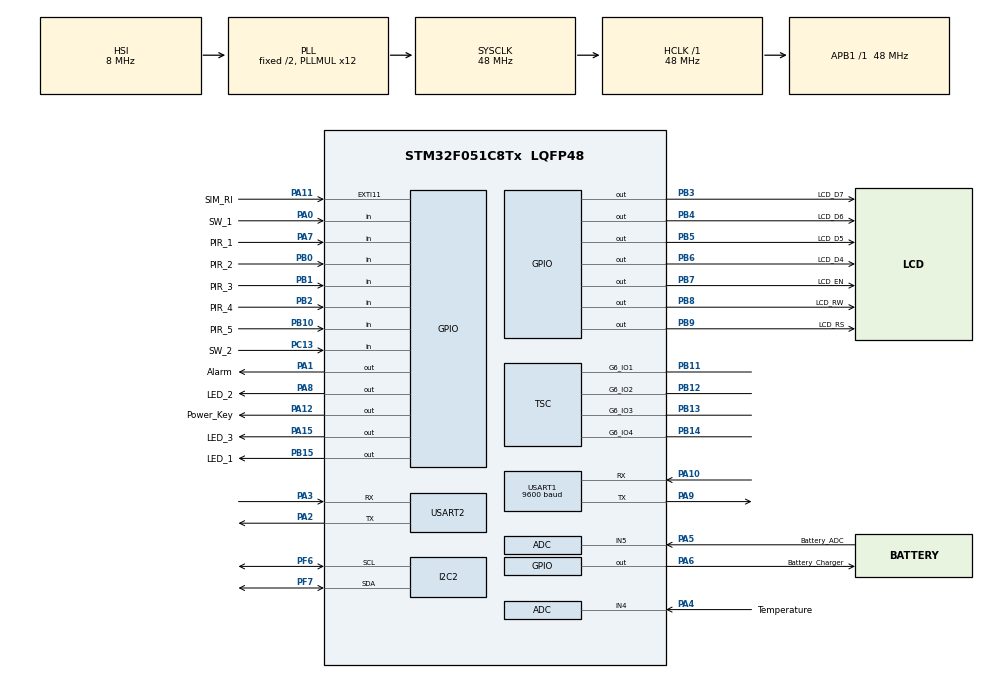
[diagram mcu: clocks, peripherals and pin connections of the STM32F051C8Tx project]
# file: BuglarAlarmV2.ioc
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ADC.ClockPrescaler=ADC_CLOCK_ASYNC_DIV1
ADC.ContinuousConvMode=ENABLE
ADC.DMAContinuousRequests=DISABLE
ADC.DataAlign=ADC_DATAALIGN_RIGHT
ADC.DiscontinuousConvMode=DISABLE
ADC.EOCSelection=ADC_EOC_SINGLE_CONV
ADC.EnableAnalogWatchDog=false
ADC.ExternalTrigConv=ADC_SOFTWARE_START
ADC.ExternalTrigConvEdge=ADC_EXTERNALTRIGCONVEDGE_NONE
ADC.LowPowerAutoPowerOff=DISABLE
ADC.LowPowerAutoWait=DISABLE
ADC.Overrun=ADC_OVR_DATA_PRESERVED
ADC.Resolution=ADC_RESOLUTION_12B
ADC.SamplingTime=ADC_SAMPLETIME_239CYCLES_5
ADC.ScanConvMode=ADC_SCAN_DIRECTION_FORWARD
Dma.ADC.0.Direction=DMA_PERIPH_TO_MEMORY
Dma.ADC.0.Instance=DMA1_Channel1
Dma.ADC.0.MemDataAlignment=DMA_MDATAALIGN_HALFWORD
Dma.ADC.0.MemInc=DMA_MINC_ENABLE
Dma.ADC.0.Mode=DMA_CIRCULAR
Dma.ADC.0.PeriphDataAlignment=DMA_PDATAALIGN_HALFWORD
Dma.ADC.0.PeriphInc=DMA_PINC_DISABLE
Dma.ADC.0.Priority=DMA_PRIORITY_LOW
Dma.Request0=ADC
I2C2.Timing=0x20303E5D
Mcu.Family=STM32F0
Mcu.Name=STM32F051C8Tx
Mcu.Package=LQFP48
NVIC.DMA1_Channel1_IRQn=true\:0\:0\:false\:false\:true
NVIC.USART1_IRQn=true\:0\:0\:false\:false\:true
PA0.GPIO_Label=SW_1
PA0.Signal=GPIO_Input
PA1.GPIO_Label=Alarm
PA1.Signal=GPIO_Output
PA10.Mode=Asynchronous
PA10.Signal=USART1_RX
PA11.GPIO_Label=SIM_RI
PA11.Signal=GPXTI11
PA12.GPIO_Label=Power_Key
PA12.Signal=GPIO_Output
PA13.Mode=Serial_Wire
PA13.Signal=SYS_SWDIO
PA14.Mode=Serial_Wire
PA14.Signal=SYS_SWCLK
PA15.GPIO_Label=LED_3
PA15.Signal=GPIO_Output
PA2.Mode=Asynchronous
PA2.Signal=USART2_TX
PA3.Mode=Asynchronous
PA3.Signal=USART2_RX
PA4.GPIO_Label=Temperature
PA4.Mode=IN4
PA4.Signal=ADC_IN4
PA5.GPIO_Label=Battery_ADC
PA5.Mode=IN5
PA5.Signal=ADC_IN5
PA6.GPIO_Label=Battery_Charger
PA6.Signal=GPIO_Output
PA7.GPIO_Label=PIR_1
PA7.GPIO_Mode=GPIO_MODE_INPUT
PA7.GPIO_PuPd=GPIO_PULLDOWN
PA7.Signal=GPIO_Input
PA8.GPIO_Label=LED_2
PA8.Signal=GPIO_Output
PA9.Mode=Asynchronous
PA9.Signal=USART1_TX
PB0.GPIO_Label=PIR_2
PB0.GPIO_Mode=GPIO_MODE_INPUT
PB0.GPIO_PuPd=GPIO_PULLDOWN
PB0.Signal=GPIO_Input
PB1.GPIO_Label=PIR_3
PB1.GPIO_Mode=GPIO_MODE_INPUT
PB1.GPIO_PuPd=GPIO_PULLDOWN
PB1.Signal=GPIO_Input
PB10.GPIO_Label=PIR_5
PB10.GPIO_Mode=GPIO_MODE_INPUT
PB10.GPIO_PuPd=GPIO_PULLDOWN
PB10.Signal=GPIO_Input
PB11.Mode=G6_IO1-Sampling
PB11.Signal=TSC_G6_IO1
PB12.Mode=G6_IO2-Channel
PB12.Signal=TSC_G6_IO2
PB13.Mode=G6_IO3-Channel
PB13.Signal=TSC_G6_IO3
PB14.Mode=G6_IO4-Channel
PB14.Signal=TSC_G6_IO4
PB15.GPIO_Label=LED_1
PB15.Signal=GPIO_Output
PB2.GPIO_Label=PIR_4
PB2.GPIO_Mode=GPIO_MODE_INPUT
PB2.GPIO_PuPd=GPIO_PULLDOWN
PB2.Signal=GPIO_Input
PB3.GPIO_Label=LCD_D7
PB3.Signal=GPIO_Output
PB4.GPIO_Label=LCD_D6
PB4.Signal=GPIO_Output
PB5.GPIO_Label=LCD_D5
PB5.Signal=GPIO_Output
PB6.GPIO_Label=LCD_D4
PB6.Signal=GPIO_Output
PB7.GPIO_Label=LCD_EN
PB7.Signal=GPIO_Output
PB8.GPIO_Label=LCD_RW
PB8.Signal=GPIO_Output
PB9.GPIO_Label=LCD_RS
PB9.Signal=GPIO_Output
PC13.GPIO_Label=SW_2
PC13.Signal=GPIO_Input
PC14-OSC32_IN.Mode=LSE-External-Oscillator
PC14-OSC32_IN.Signal=RCC_OSC32_IN
PC15-OSC32_OUT.Mode=LSE-External-Oscillator
PC15-OSC32_OUT.Signal=RCC_OSC32_OUT
PF0-OSC_IN.Mode=HSE-External-Oscillator
PF0-OSC_IN.Signal=RCC_OSC_IN
PF1-OSC_OUT.Mode=HSE-External-Oscillator
PF1-OSC_OUT.Signal=RCC_OSC_OUT
PF6.Mode=I2C
PF6.Signal=I2C2_SCL
PF7.Mode=I2C
PF7.Signal=I2C2_SDA
ProjectManager.HeapSize=0x200
ProjectManager.StackSize=0x400
ProjectManager.TargetToolchain=SW4STM32
RCC.AHBFreq_Value=48000000
RCC.APB1Freq_Value=48000000
RCC.APB1TimFreq_Value=48000000
RCC.HCLKFreq_Value=48000000
RCC.PLLMUL=RCC_PLL_MUL12
RCC.PLLSourceVirtual=RCC_PLLSOURCE_HSI
RCC.SYSCLKFreq_VALUE=48000000
RCC.SYSCLKSource=RCC_SYSCLKSOURCE_PLLCLK
TSC.AcquisitionMode=TSC_ACQ_MODE_SYNCHRO
TSC.CTPulseHighLength=TSC_CTPH_1CYCLE
TSC.CTPulseLowLength=TSC_CTPL_1CYCLE
TSC.ChannelIOs-G6_IO2=TSC_GROUP6_IO2
TSC.ChannelIOs-G6_IO3=TSC_GROUP6_IO3
TSC.ChannelIOs-G6_IO4=TSC_GROUP6_IO4
TSC.IODefaultMode=TSC_IODEF_IN_FLOAT
TSC.MaxCountValue=TSC_MCV_16383
TSC.PulseGeneratorPrescaler=TSC_PG_PRESC_DIV1
TSC.SamplingIOs-G6_IO1=TSC_GROUP6_IO1
TSC.SpreadSpectrum=DISABLE
USART1.BaudRate=9600
USART1.VirtualMode-Asynchronous=VM_ASYNC
USART2.VirtualMode-Asynchronous=VM_ASYNC
board=BuglarAlarmV2

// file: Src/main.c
/**
 ******************************************************************************
 * File Name          : main.c
 * Description        : Main program body
 ******************************************************************************
 ** This notice applies to any and all portions of this file
 * that are not between comment pairs USER CODE BEGIN and
 * USER CODE END. Other portions of this file, whether
 * inserted by the user or by software development tools
 * are owned by their respective copyright owners.
 *
 * COPYRIGHT(c) 2017 STMicroelectronics
 *
 * Redistribution and use in source and binary forms, with or without modification,
 * are permitted provided that the following conditions are met:
 *   1. Redistributions of source code must retain the above copyright notice,
 *      this list of conditions and the following disclaimer.
 *   2. Redistributions in binary form must reproduce the above copyright notice,
 *      this list of conditions and the following disclaimer in the documentation
 *      and/or other materials provided with the distribution.
 *   3. Neither the name of STMicroelectronics nor the names of its contributors
 *      may be used to endorse or promote products derived from this software
 *      without specific prior written permission.
 *
 * THIS SOFTWARE IS PROVIDED BY THE COPYRIGHT HOLDERS AND CONTRIBUTORS "AS IS"
 * AND ANY EXPRESS OR IMPLIED WARRANTIES, INCLUDING, BUT NOT LIMITED TO, THE
 * IMPLIED WARRANTIES OF MERCHANTABILITY AND FITNESS FOR A PARTICULAR PURPOSE ARE
 * DISCLAIMED. IN NO EVENT SHALL THE COPYRIGHT HOLDER OR CONTRIBUTORS BE LIABLE
 * FOR ANY DIRECT, INDIRECT, INCIDENTAL, SPECIAL, EXEMPLARY, OR CONSEQUENTIAL
 * DAMAGES (INCLUDING, BUT NOT LIMITED TO, PROCUREMENT OF SUBSTITUTE GOODS OR
 * SERVICES; LOSS OF USE, DATA, OR PROFITS; OR BUSINESS INTERRUPTION) HOWEVER
 * CAUSED AND ON ANY THEORY OF LIABILITY, WHETHER IN CONTRACT, STRICT LIABILITY,
 * OR TORT (INCLUDING NEGLIGENCE OR OTHERWISE) ARISING IN ANY WAY OUT OF THE USE
 * OF THIS SOFTWARE, EVEN IF ADVISED OF THE POSSIBILITY OF SUCH DAMAGE.
 *
 ******************************************************************************
 */
#include "main.h"
#include "stm32f0xx_hal.h"
#include "adc.h"
#include "dma.h"
#include "i2c.h"
#include "tsc.h"
#include "usart.h"
#include "gpio.h"

/* USER CODE BEGIN PV */
/* Private variables ---------------------------------------------------------*/
#define led1On()  HAL_GPIO_WritePin(LED_1_GPIO_Port,LED_1_Pin,GPIO_PIN_SET)
#define led1Off() HAL_GPIO_WritePin(LED_1_GPIO_Port,LED_1_Pin,GPIO_PIN_RESET)
#define led2On()  HAL_GPIO_WritePin(LED_2_GPIO_Port,LED_2_Pin,GPIO_PIN_SET)
#define led2Off() HAL_GPIO_WritePin(LED_2_GPIO_Port,LED_2_Pin,GPIO_PIN_RESET)
#define led3On()  HAL_GPIO_WritePin(LED_3_GPIO_Port,LED_3_Pin,GPIO_PIN_SET)
#define led3Off() HAL_GPIO_WritePin(LED_3_GPIO_Port,LED_3_Pin,GPIO_PIN_RESET)

/* USER CODE END PV */

void SystemClock_Config(void);

/* USER CODE BEGIN PFP */
/* Private function prototypes -----------------------------------------------*/

/* USER CODE END PFP */

/* USER CODE BEGIN 0 */
uint16_t adcData[2];
// on va off ba sms
int SW = 0;
// noise nashy az gsm va pir
int NSW = 0;
// neshan gar gozasht 3 min
int tim = 1;
int c = 0;
// neshan gar vojod sms
int sms = 0;
// neshan gar peyda kardan shomare mored nazar
int numberDitect = 0;
// neshan gar peyda kardan kalame on dar matn sms
int smsOn = 0;
// neshan gar peyda kardan kalame off dar matn sms
int smsOff = 0;
// time counter har bar 10 s ra mishemarad
int TC = 0;
// baraye pir ke mikhaym bebinim vasle ya na
int pir1 = 1;

char ch[250];
uint8_t in;
int chC = 0;

void sim800_Init() {
	HAL_GPIO_WritePin(Power_Key_GPIO_Port, Power_Key_Pin, 1);
	HAL_Delay(202);
	HAL_GPIO_WritePin(Power_Key_GPIO_Port, Power_Key_Pin, 0);
	HAL_Delay(2000);
	HAL_GPIO_WritePin(Power_Key_GPIO_Port, Power_Key_Pin, 1);
	HAL_Delay(4000);
	HAL_UART_Transmit(&huart1, "ATr", sizeof("ATr"), 100);
	HAL_Delay(7000);
}

int size(char arr[]) {
	int count = 0;
	while (arr[count] != 0) {
		count++;
	}
	return count;
}

//send text massage to tell_num
void SIM800_Send_SMS(char tell[], char sms_text[]) {
	char text[50] = { 0 };
	char sms_con[24] = { 0, 0 }; //andaze dastor + shomare telephone
	char sub = 26;
	char enter = 13;
	strcpy(text, sms_text);
	sprintf(sms_con, "AT+CMGS=\"");
	strcat(sms_con, tell);
	strcat(sms_con, "\"\r");
	HAL_UART_Transmit(&huart1, "AT+CMGF=1\r", sizeof("AT+CMGF=1\r"), 100);
	HAL_Delay(1500);
	HAL_UART_Transmit(&huart1, sms_con, size(sms_con), 100);
	HAL_Delay(500);
	HAL_UART_Transmit(&huart1, sms_text, size(sms_text), 290);
	HAL_Delay(100);
	HAL_UART_Transmit(&huart1, &sub, sizeof(sub), 100);
	HAL_Delay(100);
	return;

}

void SIM800_call(char tell[]) {
	char calling[50];
	sprintf(calling, "ATD");
	strcat(calling, tell);
	strcat(calling, ";\r");
	HAL_UART_Transmit(&huart1, calling, size(calling), 100);
}

//irancell
void SIM800_Check_Credit() {
	HAL_UART_Transmit(&huart1, "AT+CUSD=1,\"*141*1#\",15\r\n",
			sizeof("AT+CUSD=1,\"*141*1#\",15\r\n"), 100);
}

void SIM800_Check() {
	char d[10] = { 0 };
	HAL_UART_Transmit(&huart1, "AT\r", sizeof("AT\r"), 100);
	HAL_Delay(100);
	HAL_Delay(1000);

}

void SIM800_Signal() {
	HAL_UART_Transmit(&huart1, "AT+CSQ\r", sizeof("AT+CSQ\r"), 100);
}

void SIM800_delet_all_sms() {
	HAL_UART_Transmit(&huart1, "AT+CMGD=4,4\r\n", sizeof("AT+CMGD=4,4\r\n"),
			100);
}

void SIM800_read_SMS() {

	if (sms == 1) {

		HAL_UART_Transmit(&huart1, "AT+CMGF=1\r", sizeof("AT+CMGF=1\r"), 100);
		HAL_Delay(700);

		HAL_UART_Transmit(&huart1, "AT+CMGL=\"REC UNREAD\"\r",
				sizeof("AT+CMGL=\"REC UNREAD\"\r"), 100);
		//HAL_UART_Receive (&huart1,con,80,100);

		sms = 0;
		NSW = 1;

	} else if (smsOn == 1) {
		SW = 1;
		SIM800_Send_SMS("09******606", "I'm On \n");
		smsOn = 0;
		SIM800_Check();
		HAL_Delay(100);
		SIM800_Check();
		SIM800_delet_all_sms();
		NSW = 1;
		HAL_Delay(20000);
	} else if (smsOff == 1) {
		SW = 0;
		SIM800_Send_SMS("09******606", "I'm Off \n");
		smsOff = 0;
		SIM800_Check();
		HAL_Delay(100);
		SIM800_Check();
		SIM800_delet_all_sms();
		NSW = 1;
		HAL_Delay(20000);
	}

}

void HAL_UART_RxCpltCallback(UART_HandleTypeDef *huart) {

	__HAL_UART_CLEAR_FEFLAG(huart);

	if (chC >= 250)
		chC = 0;
	if (in != 0x0A) {

		ch[chC++] = (char) in;
		ch[chC] = 0;
	} else {
		if (strstr(ch, "CMTI:")) {

			sms = 1;
			NSW = 1;
		} else if (strstr(ch, "9******606")) {
			numberDitect = 1;

		} else if ((strcasestr(ch, "on")) && numberDitect == 1) {
			smsOn = 1;
			numberDitect = 0;
		} else if ((strcasestr(ch, "off")) && numberDitect == 1) {
			smsOff = 1;
			numberDitect = 0;

		}
		ch[0] = 0;
		chC = 0;
	}

	HAL_UART_Receive_IT(&huart1, &in, 1);

}

//void HAL_TIM_PeriodElapsedCallback(TIM_HandleTypeDef *htim) {
//	TC++;
////	HAL_GPIO_WritePin(LED2_GPIO_Port,LED2_Pin,TC%2);
//	if(TC==36)
//	{
//		tim = 1;
//		TC=0;
//	}
//
//}

/* USER CODE END 0 */

int main(void) {

	/* MCU Configuration----------------------------------------------------------*/

	/* Reset of all peripherals, Initializes the Flash interface and the Systick. */
	HAL_Init();

	/* Configure the system clock */
	SystemClock_Config();

	/* Initialize all configured peripherals */
	MX_GPIO_Init();
	MX_DMA_Init();
	MX_ADC_Init();
	MX_I2C2_Init();
	MX_TSC_Init();
	MX_USART1_UART_Init();
	MX_USART2_UART_Init();

	/* USER CODE BEGIN 2 */
	sim800_Init();
	HAL_Delay(500);
	SIM800_Check();
	HAL_Delay(500);
	SIM800_Check();
	HAL_Delay(500);
	SIM800_delet_all_sms();
	HAL_Delay(1000);
	HAL_Delay(5000);
	SIM800_delet_all_sms();
	HAL_Delay(2000);
	HAL_UART_Receive_IT(&huart1, &in, 1);
	HAL_UART_Receive_IT(&huart1, &in, 1);
	HAL_Delay(500);
	HAL_Delay(120000);

	HAL_ADC_Start_DMA(&hadc, adcData, 2);

	/* USER CODE END 2 */

	/* Infinite loop */
	while (1) {

		/* USER CODE BEGIN 3 */

			SIM800_read_SMS();
			HAL_UART_Receive_IT(&huart1, &in, 1);
		pir1 = HAL_GPIO_ReadPin(PIR_1_GPIO_Port, PIR_1_Pin);
		if (pir1 == 0 && SW==1)	//
				{
			led1On();
			HAL_Delay(100);
			led1Off();
			HAL_Delay(100);
			SIM800_call("+989******606");
			HAL_Delay(60000);
		}

	}
	/* USER CODE END 3 */

}

/** System Clock Configuration
 */
void SystemClock_Config(void) {

	RCC_OscInitTypeDef RCC_OscInitStruct;
	RCC_ClkInitTypeDef RCC_ClkInitStruct;
	RCC_PeriphCLKInitTypeDef PeriphClkInit;

	/**Initializes the CPU, AHB and APB busses clocks
	 */
	RCC_OscInitStruct.OscillatorType = RCC_OSCILLATORTYPE_HSI
			| RCC_OSCILLATORTYPE_HSI14;
	RCC_OscInitStruct.HSIState = RCC_HSI_ON;
	RCC_OscInitStruct.HSI14State = RCC_HSI14_ON;
	RCC_OscInitStruct.HSICalibrationValue = 16;
	RCC_OscInitStruct.HSI14CalibrationValue = 16;
	RCC_OscInitStruct.PLL.PLLState = RCC_PLL_ON;
	RCC_OscInitStruct.PLL.PLLSource = RCC_PLLSOURCE_HSI;
	RCC_OscInitStruct.PLL.PLLMUL = RCC_PLL_MUL12;
	RCC_OscInitStruct.PLL.PREDIV = RCC_PREDIV_DIV1;
	if (HAL_RCC_OscConfig(&RCC_OscInitStruct) != HAL_OK) {
		_Error_Handler(__FILE__, __LINE__);
	}

	/**Initializes the CPU, AHB and APB busses clocks
	 */
	RCC_ClkInitStruct.ClockType = RCC_CLOCKTYPE_HCLK | RCC_CLOCKTYPE_SYSCLK
			| RCC_CLOCKTYPE_PCLK1;
	RCC_ClkInitStruct.SYSCLKSource = RCC_SYSCLKSOURCE_PLLCLK;
	RCC_ClkInitStruct.AHBCLKDivider = RCC_SYSCLK_DIV1;
	RCC_ClkInitStruct.APB1CLKDivider = RCC_HCLK_DIV1;

	if (HAL_RCC_ClockConfig(&RCC_ClkInitStruct, FLASH_LATENCY_1) != HAL_OK) {
		_Error_Handler(__FILE__, __LINE__);
	}

	PeriphClkInit.PeriphClockSelection = RCC_PERIPHCLK_USART1;
	PeriphClkInit.Usart1ClockSelection = RCC_USART1CLKSOURCE_PCLK1;
	if (HAL_RCCEx_PeriphCLKConfig(&PeriphClkInit) != HAL_OK) {
		_Error_Handler(__FILE__, __LINE__);
	}

	/**Configure the Systick interrupt time
	 */
	HAL_SYSTICK_Config(HAL_RCC_GetHCLKFreq() / 1000);

	/**Configure the Systick
	 */
	HAL_SYSTICK_CLKSourceConfig(SYSTICK_CLKSOURCE_HCLK);

	/* SysTick_IRQn interrupt configuration */
	HAL_NVIC_SetPriority(SysTick_IRQn, 0, 0);
}

void _Error_Handler(char * file, int line) {
	while (1) {
	}
}

/************************ (C) COPYRIGHT STMicroelectronics *****END OF FILE****/
